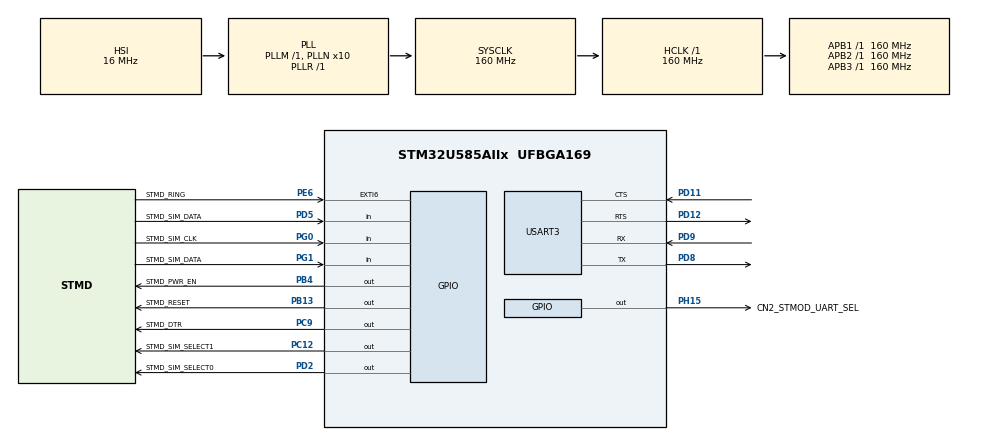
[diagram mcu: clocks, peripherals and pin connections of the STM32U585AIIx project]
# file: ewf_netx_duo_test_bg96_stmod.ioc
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CORTEX_M33_NS.userName=CORTEX_M33
Mcu.Family=STM32U5
Mcu.Name=STM32U585AIIx
Mcu.Package=UFBGA169
NETXDUO.NXD_MQTT_PING_TIMEOUT_DELAY=500
NETXDUO.NX_DNS_CLIENT_CLEAR_QUEUE=true
NETXDUO.NX_DNS_CLIENT_USER_CREATE_PACKET_POOL=true
NETXDUO.NX_ENABLE_EXTENDED_NOTIFY_SUPPORT=true
NETXDUO.NX_ENABLE_IP_PACKET_FILTER=true
NETXDUO.NX_ENABLE_TCPIP_OFFLOAD=1
NETXDUO.NX_SECURE_ENABLE=true
NETXDUO.NX_SECURE_TLS_DISABLE_TLS_1_1=true
NVIC.EXTI6_IRQn=true\:5\:0\:true\:false\:true\:false\:true\:true\:true
NVIC.PriorityGroup=NVIC_PRIORITYGROUP_4
NVIC.TIM3_IRQn=true\:15\:0\:false\:false\:true\:false\:false\:true\:true
NVIC.TimeBase=TIM3_IRQn
NVIC.TimeBaseIP=TIM3
NVIC.USART3_IRQn=true\:0\:0\:false\:false\:true\:false\:true\:true\:true
PA13\ (JTMS/SWDIO).Mode=Trace_Asynchronous_SW
PA13\ (JTMS/SWDIO).Signal=DEBUG_JTMS-SWDIO
PA14\ (JTCK/SWCLK).Mode=Trace_Asynchronous_SW
PA14\ (JTCK/SWCLK).Signal=DEBUG_JTCK-SWCLK
PB13.GPIO_Label=STMD_RESET
PB13.PinState=GPIO_PIN_SET
PB13.Signal=GPIO_Output
PB3\ (JTDO/TRACESWO).Mode=Trace_Asynchronous_SW
PB3\ (JTDO/TRACESWO).Signal=DEBUG_JTDO-SWO
PB4\ (NJTRST).GPIO_Label=STMD_PWR_EN
PB4\ (NJTRST).PinState=GPIO_PIN_SET
PB4\ (NJTRST).Signal=GPIO_Output
PC12.GPIO_Label=STMD_SIM_SELECT1
PC12.Signal=GPIO_Output
PC9.GPIO_Label=STMD_DTR
PC9.Signal=GPIO_Output
PD11.Mode=CTS_RTS
PD11.Signal=USART3_CTS
PD12.Mode=CTS_RTS
PD12.Signal=USART3_RTS
PD2.GPIO_Label=STMD_SIM_SELECT0
PD2.Signal=GPIO_Output
PD5.GPIO_Label=STMD_SIM_DATA
PD5.Signal=GPIO_Input
PD8.Mode=Asynchronous
PD8.Signal=USART3_TX
PD9.Mode=Asynchronous
PD9.Signal=USART3_RX
PE6.GPIO_Label=STMD_RING
PE6.Signal=GPXTI6
PG0.GPIO_Label=STMD_SIM_CLK
PG0.Signal=GPIO_Input
PG1.GPIO_Label=STMD_SIM_DATA
PG1.Signal=GPIO_Input
PH15.GPIO_Label=CN2_STMOD_UART_SEL
PH15.PinState=GPIO_PIN_SET
PH15.Signal=GPIO_Output
PWR.PowerMode=PWR_SMPS_SUPPLY
ProjectManager.HeapSize=0x200
ProjectManager.StackSize=0x400
ProjectManager.TargetToolchain=STM32CubeIDE
RCC.ADCFreq_Value=16000000
RCC.AHBFreq_Value=160000000
RCC.APB1Freq_Value=160000000
RCC.APB1TimFreq_Value=160000000
RCC.APB2Freq_Value=160000000
RCC.APB2TimFreq_Value=160000000
RCC.APB3Freq_Value=160000000
RCC.CortexFreq_Value=160000000
RCC.DACCLockSelectionVirtual=RCC_DAC1CLKSOURCE_LSI
RCC.DACCLockSelectionVirtualString=RCC_DAC1CLKSOURCE_LSI
RCC.EPOD_VALUE=16000000
RCC.HCLKFreq_Value=160000000
RCC.HSE_VALUE=16000000
RCC.HSI48_VALUE=48000000
RCC.HSI_VALUE=16000000
RCC.LSE_VALUE=32768
RCC.LSIDIV_VALUE=32000
RCC.MSIClockRange=RCC_MSIRANGE_0
RCC.MSI_VALUE=48000000
RCC.PLL1R=1
RCC.PLLN=10
RCC.PLLSourceVirtual=RCC_PLLSOURCE_HSI
RCC.SPI2CLockSelection=RCC_SPI2CLKSOURCE_PCLK1
RCC.SYSCLKFreq_VALUE=160000000
RCC.SYSCLKSource=RCC_SYSCLKSOURCE_PLLCLK
RCC.USBFreq_Value=48000000
RCC.VCOOutputFreq_Value=160000000
THREADX.AZRTOS_APP_MEM_ALLOCATION_METHOD=1
THREADX.TX_APP_MEM_POOL_SIZE=(512*1)
USART3.VirtualMode-Asynchronous=VM_ASYNC
VP_ICACHE_VS_ICACHE.Mode=DirectMappedCache
VP_LPBAMQUEUE_VS_QUEUE.Mode=QUEUEMODE
VP_LPBAM_VS_SIG1.Mode=SmartRun
VP_LPBAM_VS_SIG4.Mode=LPDMA1
VP_NETXDUO_VS_AddonsOoDNS.Mode=Addons_DNS
VP_NETXDUO_VS_AddonsOoMQTT.Mode=Addons_MQTT
VP_NETXDUO_VS_Crypto.Mode=Crypto
VP_NETXDUO_VS_CustomOoInterface.Mode=Custom_Interface
VP_NETXDUO_VS_NXOoCore.Mode=NX_Core
VP_NETXDUO_VS_TLS.Mode=TLS
VP_PWR_VS_DBSignals.Mode=DisableDeadBatterySignals
VP_PWR_VS_LPOM.Mode=PowerOptimisation
VP_PWR_VS_SECSignals.Mode=Security/Privilege
VP_SYS_VS_tim3.Mode=TIM3
VP_THREADX_VS_RTOSJjThreadXJjCoreJjDefault.Mode=Core_Default
board=custom

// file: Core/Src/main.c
 /* USER CODE BEGIN Header */
/**
  ******************************************************************************
  * @file           : main.c
  * @brief          : Main program body
  ******************************************************************************
  * @attention
  *
  * Copyright (c) 2022 STMicroelectronics.
  * All rights reserved.
  *
  * This software is licensed under terms that can be found in the LICENSE file
  * in the root directory of this software component.
  * If no LICENSE file comes with this software, it is provided AS-IS.
  *
  ******************************************************************************
  */
/* USER CODE END Header */
#include "main.h"
#include "app_threadx.h"

/* USER CODE BEGIN Includes */

#include <stdlib.h>

#include "stm32u5xx_hal.h"
#include "stm32u5xx_ll_bus.h"
#include "stm32u5xx_ll_rcc.h"
#include "stm32u5xx_ll_system.h"
#include "stm32u5xx_ll_utils.h"
#include "stm32u5xx_ll_pwr.h"
#include "stm32u5xx_ll_exti.h"
#include "stm32u5xx_ll_gpio.h"
#include "stm32u5xx_ll_usart.h"

#include "ewf_lib.c"
#include "ewf_platform_threadx.c"
#include "ewf_allocator.c"
#include "ewf_allocator_threadx.c"
#include "ewf_tokenizer.c"
#include "ewf_tokenizer_basic.c"
#include "ewf_interface.c"
#include "ewf_interface_stm32_uart.c"
#include "ewf_adapter.c"
#include "ewf_adapter_api_control.c"
#include "ewf_adapter_api_info.c"
#include "ewf_adapter_api_tls_basic.c"
#include "ewf_adapter_api_mqtt_basic.c"
#include "ewf_adapter_api_tcp.c"
#include "ewf_adapter_api_udp.c"
#include "ewf_adapter_api_modem.c"
#include "ewf_adapter_api_modem_general.c"
#include "ewf_adapter_api_modem_network_service.c"
#include "ewf_adapter_api_modem_packet_domain.c"
#include "ewf_adapter_api_modem_sim_utility.c"
#include "ewf_adapter_api_modem_sms.c"
#include "ewf_adapter_quectel_bg96.c"
#include "ewf_adapter_quectel_common_tokenizer.c"
#include "ewf_adapter_quectel_common_urc.c"
#include "ewf_adapter_quectel_common_control.c"
#include "ewf_adapter_quectel_common_context.c"
#include "ewf_adapter_quectel_common_info.c"
#include "ewf_adapter_quectel_common_internet.c"
#include "ewf_adapter_quectel_common_ufs.c"
#include "ewf_adapter_quectel_common_mqtt_basic.c"
#include "ewf_adapter_quectel_common_tls_basic.c"
#include "test/ewf_adapter_quectel_bg96_test.c"
#include "ewf_example.config.h"

/* USER CODE END Includes */

/* USER CODE BEGIN PTD */
#if defined ( __GNUC__) && !defined(__clang__)
/* With GCC, small printf (option LD Linker->Libraries->Small printf
   set to 'Yes') calls __io_putchar() */
#define PUTCHAR_PROTOTYPE int __io_putchar(int ch)
#else
#define PUTCHAR_PROTOTYPE int fputc(int ch, FILE *f)
#endif /* __GNUC__ */

/* USER CODE END PTD */

UART_HandleTypeDef huart3;

void SystemClock_Config(void);
static void SystemPower_Config(void);
static void MX_GPIO_Init(void);
static void MX_ICACHE_Init(void);
static void MX_USART3_UART_Init(void);

/* USER CODE BEGIN 0 */
void ewf_quectel_bg96_power_on()
{
	/* Reference: Quectel BG96 Hardware Design V1.4 */
	HAL_GPIO_WritePin(STMD_RESET_GPIO_Port, STMD_RESET_Pin, GPIO_PIN_RESET);
	HAL_GPIO_WritePin(STMD_PWR_EN_GPIO_Port, STMD_PWR_EN_Pin, GPIO_PIN_RESET);
	HAL_GPIO_WritePin(STMD_DTR_GPIO_Port, STMD_DTR_Pin, GPIO_PIN_RESET);

	/* Turn OFF the module, in case of error in previous power cycle
	 * Set the STMD_PWR_EN_Pin to at least 650ms */
	HAL_GPIO_WritePin(STMD_PWR_EN_GPIO_Port, STMD_PWR_EN_Pin, GPIO_PIN_SET);
	tx_thread_sleep(70U);
	HAL_GPIO_WritePin(STMD_PWR_EN_GPIO_Port, STMD_PWR_EN_Pin, GPIO_PIN_RESET);
	tx_thread_sleep(100U);

	/* Power ON sequence */
	/* Set STMD_PWR_EN_Pin to 1 (initial state) */
	HAL_GPIO_WritePin(STMD_PWR_EN_GPIO_Port, STMD_PWR_EN_Pin, GPIO_PIN_SET);
	tx_thread_sleep(5);

	/* Set STMD_PWR_EN_Pin to 0 during at least 30ms */
	HAL_GPIO_WritePin(STMD_PWR_EN_GPIO_Port, STMD_PWR_EN_Pin, GPIO_PIN_RESET);
	tx_thread_sleep(4);

	/* Set STMD_PWR_EN_Pin to 1 during at least 500ms */
	HAL_GPIO_WritePin(STMD_PWR_EN_GPIO_Port, STMD_PWR_EN_Pin, GPIO_PIN_SET);
	tx_thread_sleep(65U);

	/* Set STMD_PWR_EN_Pin to 0 */
	HAL_GPIO_WritePin(STMD_PWR_EN_GPIO_Port, STMD_PWR_EN_Pin, GPIO_PIN_RESET);

	/* wait for the modem to be in ready state  */
	printf("Waiting for BG96 modem to be ready after power ON\n");
	tx_thread_sleep(TX_TIMER_TICKS_PER_SECOND * 10);
	printf("Modem Ready!!!\n");

	/* set DTR to 1 */
	HAL_GPIO_WritePin(STMD_DTR_GPIO_Port, STMD_DTR_Pin, GPIO_PIN_SET);

	/* Initialize UART3 */
	MX_USART3_UART_Init();
}

void thread_sample_entry(ULONG thread_input)
{
    ewf_result result;

    ewf_allocator* message_allocator_ptr = NULL;
    ewf_interface* interface_ptr = NULL;
    ewf_adapter* adapter_ptr = NULL;

    EWF_ALLOCATOR_THREADX_STATIC_DECLARE(message_allocator_ptr, message_allocator,
        EWF_CONFIG_MESSAGE_ALLOCATOR_BLOCK_COUNT,
        EWF_CONFIG_MESSAGE_ALLOCATOR_BLOCK_SIZE);
    EWF_INTERFACE_STM32_UART_STATIC_DECLARE(interface_ptr, stm32_uart_port, &huart3);
    EWF_ADAPTER_QUECTEL_BG96_STATIC_DECLARE(adapter_ptr, quectel_bg96, message_allocator_ptr, NULL, interface_ptr);

	/* Power on the STMOD+ BG96 modem */
    ewf_quectel_bg96_power_on();

    /* Start the adapter.  */
    if (ewf_result_failed(result = ewf_adapter_start(adapter_ptr)))
    {
        EWF_LOG_ERROR("Failed to start the adapter, ewf_result %d.\n", result);
        exit(result);
    }

    // Set the SIM PIN
    if (ewf_result_failed(result = ewf_adapter_modem_sim_pin_enter(adapter_ptr, EWF_CONFIG_SIM_PIN)))
    {
        EWF_LOG_ERROR("Failed to the SIM PIN, ewf_result %d.\n", result);
        exit(result);
    }

    // Set the ME functionality
    if (ewf_result_failed(result = ewf_adapter_modem_functionality_set(adapter_ptr, "1")))
    {
        EWF_LOG_ERROR("Failed to the ME functionality, ewf_result %d.\n", result);
        exit(result);
    }

    /* Run the adapter tests.  */
    if (ewf_result_failed(result = ewf_adapter_quectel_bg96_test(adapter_ptr)))
    {
        EWF_LOG_ERROR("Failed to run the adapter test, ewf_result %d.\n", result);
        exit(result);
    }

    EWF_LOG("\nDone!\n");

    /* Stay here forever.  */
    while (1)
    {
        EWF_LOG(".");
        tx_thread_sleep(TX_TIMER_TICKS_PER_SECOND);
    }
}

/* USER CODE END 0 */

int main(void)
{

  /* MCU Configuration--------------------------------------------------------*/

  /* Reset of all peripherals, Initializes the Flash interface and the Systick. */
  HAL_Init();

  /* Configure the system clock */
  SystemClock_Config();

  /* Configure the System Power */
  SystemPower_Config();

  /* Initialize all configured peripherals */
  MX_GPIO_Init();
  MX_ICACHE_Init();

  MX_ThreadX_Init();

  /* We should never get here as control is now taken by the scheduler */
  /* Infinite loop */
  while (1)
  {

  }
}

void SystemClock_Config(void)
{
  RCC_OscInitTypeDef RCC_OscInitStruct = {0};
  RCC_ClkInitTypeDef RCC_ClkInitStruct = {0};

  /** Configure the main internal regulator output voltage
  */
  if (HAL_PWREx_ControlVoltageScaling(PWR_REGULATOR_VOLTAGE_SCALE1) != HAL_OK)
  {
    Error_Handler();
  }

  /** Initializes the CPU, AHB and APB buses clocks
  */
  RCC_OscInitStruct.OscillatorType = RCC_OSCILLATORTYPE_HSI;
  RCC_OscInitStruct.HSIState = RCC_HSI_ON;
  RCC_OscInitStruct.HSICalibrationValue = RCC_HSICALIBRATION_DEFAULT;
  RCC_OscInitStruct.PLL.PLLState = RCC_PLL_ON;
  RCC_OscInitStruct.PLL.PLLSource = RCC_PLLSOURCE_HSI;
  RCC_OscInitStruct.PLL.PLLMBOOST = RCC_PLLMBOOST_DIV1;
  RCC_OscInitStruct.PLL.PLLM = 1;
  RCC_OscInitStruct.PLL.PLLN = 10;
  RCC_OscInitStruct.PLL.PLLP = 2;
  RCC_OscInitStruct.PLL.PLLQ = 2;
  RCC_OscInitStruct.PLL.PLLR = 1;
  RCC_OscInitStruct.PLL.PLLRGE = RCC_PLLVCIRANGE_1;
  RCC_OscInitStruct.PLL.PLLFRACN = 0;
  if (HAL_RCC_OscConfig(&RCC_OscInitStruct) != HAL_OK)
  {
    Error_Handler();
  }

  /** Initializes the CPU, AHB and APB buses clocks
  */
  RCC_ClkInitStruct.ClockType = RCC_CLOCKTYPE_HCLK|RCC_CLOCKTYPE_SYSCLK
                              |RCC_CLOCKTYPE_PCLK1|RCC_CLOCKTYPE_PCLK2
                              |RCC_CLOCKTYPE_PCLK3;
  RCC_ClkInitStruct.SYSCLKSource = RCC_SYSCLKSOURCE_PLLCLK;
  RCC_ClkInitStruct.AHBCLKDivider = RCC_SYSCLK_DIV1;
  RCC_ClkInitStruct.APB1CLKDivider = RCC_HCLK_DIV1;
  RCC_ClkInitStruct.APB2CLKDivider = RCC_HCLK_DIV1;
  RCC_ClkInitStruct.APB3CLKDivider = RCC_HCLK_DIV1;

  if (HAL_RCC_ClockConfig(&RCC_ClkInitStruct, FLASH_LATENCY_4) != HAL_OK)
  {
    Error_Handler();
  }
}

/**
  * @brief Power Configuration
  * @retval None
  */
static void SystemPower_Config(void)
{

  /*
   * Disable the internal Pull-Up in Dead Battery pins of UCPD peripheral
   */
  HAL_PWREx_DisableUCPDDeadBattery();
}

static void MX_ICACHE_Init(void)
{

  /** Enable instruction cache in 1-way (direct mapped cache)
  */
  if (HAL_ICACHE_ConfigAssociativityMode(ICACHE_1WAY) != HAL_OK)
  {
    Error_Handler();
  }
  if (HAL_ICACHE_Enable() != HAL_OK)
  {
    Error_Handler();
  }

}

static void MX_USART3_UART_Init(void)
{

  huart3.Instance = USART3;
  huart3.Init.BaudRate = 115200;
  huart3.Init.WordLength = UART_WORDLENGTH_8B;
  huart3.Init.StopBits = UART_STOPBITS_1;
  huart3.Init.Parity = UART_PARITY_NONE;
  huart3.Init.Mode = UART_MODE_TX_RX;
  huart3.Init.HwFlowCtl = UART_HWCONTROL_RTS_CTS;
  huart3.Init.OverSampling = UART_OVERSAMPLING_16;
  huart3.Init.OneBitSampling = UART_ONE_BIT_SAMPLE_DISABLE;
  huart3.Init.ClockPrescaler = UART_PRESCALER_DIV1;
  huart3.AdvancedInit.AdvFeatureInit = UART_ADVFEATURE_NO_INIT;
  if (HAL_UART_Init(&huart3) != HAL_OK)
  {
    Error_Handler();
  }
  if (HAL_UARTEx_SetTxFifoThreshold(&huart3, UART_TXFIFO_THRESHOLD_1_8) != HAL_OK)
  {
    Error_Handler();
  }
  if (HAL_UARTEx_SetRxFifoThreshold(&huart3, UART_RXFIFO_THRESHOLD_1_8) != HAL_OK)
  {
    Error_Handler();
  }
  if (HAL_UARTEx_DisableFifoMode(&huart3) != HAL_OK)
  {
    Error_Handler();
  }

}

static void MX_GPIO_Init(void)
{
  GPIO_InitTypeDef GPIO_InitStruct = {0};

  /* GPIO Ports Clock Enable */
  __HAL_RCC_GPIOH_CLK_ENABLE();
  __HAL_RCC_GPIOB_CLK_ENABLE();
  __HAL_RCC_GPIOA_CLK_ENABLE();
  __HAL_RCC_GPIOE_CLK_ENABLE();
  __HAL_RCC_GPIOD_CLK_ENABLE();
  __HAL_RCC_GPIOC_CLK_ENABLE();
  __HAL_RCC_GPIOG_CLK_ENABLE();

  /*Configure GPIO pin Output Level */
  HAL_GPIO_WritePin(CN2_STMOD_UART_SEL_GPIO_Port, CN2_STMOD_UART_SEL_Pin, GPIO_PIN_SET);

  /*Configure GPIO pin Output Level */
  HAL_GPIO_WritePin(GPIOB, STMD_PWR_EN_Pin|STMD_RESET_Pin, GPIO_PIN_SET);

  /*Configure GPIO pin Output Level */
  HAL_GPIO_WritePin(GPIOC, STMD_SIM_SELECT1_Pin|STMD_DTR_Pin, GPIO_PIN_RESET);

  /*Configure GPIO pin Output Level */
  HAL_GPIO_WritePin(STMD_SIM_SELECT0_GPIO_Port, STMD_SIM_SELECT0_Pin, GPIO_PIN_RESET);

  /*Configure GPIO pin : CN2_STMOD_UART_SEL_Pin */
  GPIO_InitStruct.Pin = CN2_STMOD_UART_SEL_Pin;
  GPIO_InitStruct.Mode = GPIO_MODE_OUTPUT_PP;
  GPIO_InitStruct.Pull = GPIO_NOPULL;
  GPIO_InitStruct.Speed = GPIO_SPEED_FREQ_LOW;
  HAL_GPIO_Init(CN2_STMOD_UART_SEL_GPIO_Port, &GPIO_InitStruct);

  /*Configure GPIO pins : STMD_PWR_EN_Pin STMD_RESET_Pin */
  GPIO_InitStruct.Pin = STMD_PWR_EN_Pin|STMD_RESET_Pin;
  GPIO_InitStruct.Mode = GPIO_MODE_OUTPUT_PP;
  GPIO_InitStruct.Pull = GPIO_NOPULL;
  GPIO_InitStruct.Speed = GPIO_SPEED_FREQ_LOW;
  HAL_GPIO_Init(GPIOB, &GPIO_InitStruct);

  /*Configure GPIO pin : STMD_RING_Pin */
  GPIO_InitStruct.Pin = STMD_RING_Pin;
  GPIO_InitStruct.Mode = GPIO_MODE_IT_RISING;
  GPIO_InitStruct.Pull = GPIO_NOPULL;
  HAL_GPIO_Init(STMD_RING_GPIO_Port, &GPIO_InitStruct);

  /*Configure GPIO pin : STMD_SIM_DATA_Pin */
  GPIO_InitStruct.Pin = STMD_SIM_DATA_Pin;
  GPIO_InitStruct.Mode = GPIO_MODE_INPUT;
  GPIO_InitStruct.Pull = GPIO_NOPULL;
  HAL_GPIO_Init(STMD_SIM_DATA_GPIO_Port, &GPIO_InitStruct);

  /*Configure GPIO pins : STMD_SIM_SELECT1_Pin STMD_DTR_Pin */
  GPIO_InitStruct.Pin = STMD_SIM_SELECT1_Pin|STMD_DTR_Pin;
  GPIO_InitStruct.Mode = GPIO_MODE_OUTPUT_PP;
  GPIO_InitStruct.Pull = GPIO_NOPULL;
  GPIO_InitStruct.Speed = GPIO_SPEED_FREQ_LOW;
  HAL_GPIO_Init(GPIOC, &GPIO_InitStruct);

  /*Configure GPIO pin : STMD_SIM_SELECT0_Pin */
  GPIO_InitStruct.Pin = STMD_SIM_SELECT0_Pin;
  GPIO_InitStruct.Mode = GPIO_MODE_OUTPUT_PP;
  GPIO_InitStruct.Pull = GPIO_NOPULL;
  GPIO_InitStruct.Speed = GPIO_SPEED_FREQ_LOW;
  HAL_GPIO_Init(STMD_SIM_SELECT0_GPIO_Port, &GPIO_InitStruct);

  /*Configure GPIO pins : STMD_SIM_DATAG1_Pin STMD_SIM_CLK_Pin */
  GPIO_InitStruct.Pin = STMD_SIM_DATAG1_Pin|STMD_SIM_CLK_Pin;
  GPIO_InitStruct.Mode = GPIO_MODE_INPUT;
  GPIO_InitStruct.Pull = GPIO_NOPULL;
  HAL_GPIO_Init(GPIOG, &GPIO_InitStruct);

  /* EXTI interrupt init*/
  HAL_NVIC_SetPriority(EXTI6_IRQn, 5, 0);
  HAL_NVIC_EnableIRQ(EXTI6_IRQn);

}

/* USER CODE BEGIN 4 */
/**
* @brief  Retargets the C library printf function to the USART.
* @param  None
* @retval None
*/

PUTCHAR_PROTOTYPE
{
    /* Place your implementation of fputc here */
    /* e.g. write a character to the USART1 and Loop until the end of transmission */
    ITM_SendChar(ch);
    return ch;
}

/* USER CODE END 4 */

void HAL_TIM_PeriodElapsedCallback(TIM_HandleTypeDef *htim)
{
  if (htim->Instance == TIM3) {
    HAL_IncTick();
  }
}

void Error_Handler(void)
{
  __disable_irq();
  while (1)
  {
  }
}
